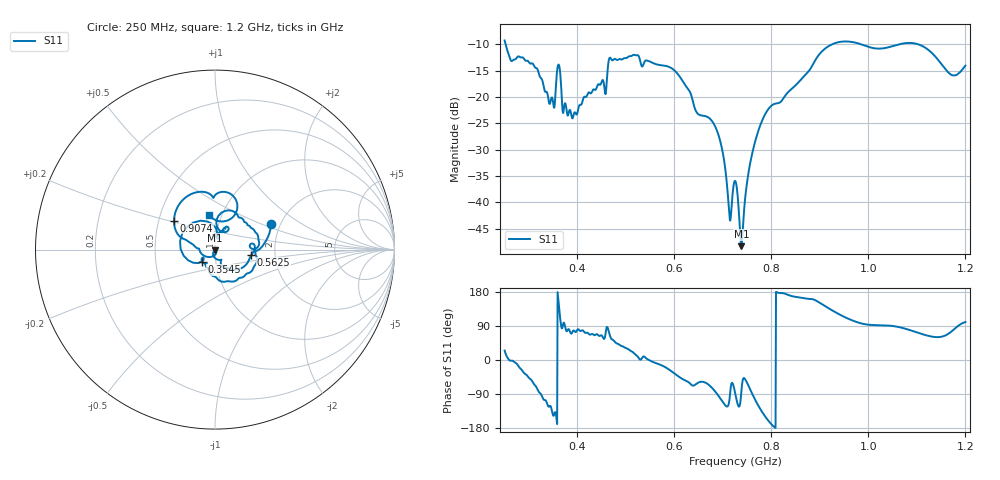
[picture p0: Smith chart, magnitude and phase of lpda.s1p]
! TOUCHSTONE file generated by CST MICROWAVE STUDIO
! Date and time: Fri Oct 16 17:00:01 2026
! Project name: lpda.cst
! Parameters = {z22=1424.37; z21=1406.82; h22=22.8747; h21=26.2497; L22=60.7494; L21=67.4994; feedz=1392.32; boomL=1407.32; z20=1387.32; z19=1365.66; z18=1341.58; z17=1314.83; z16=1285.11; z15=1252.09; z14=1215.4; z13=1174.63; z12=1129.33; z11=1079; z10=1023.07; z9=960.932; z8=891.889; z7=815.174; z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
! Header version: 2024
! Port assignment regex: !\s*Touchstone port\s*([0-9]+)\s*=\s*(CST MWS port|CST DES external port|CST DES block port)\s*(.+)\s* \(\"(.*)\"\)(\s*mode\s*([0-9]+))?.*
! Touchstone port assignment:
! Touchstone port 1 = CST MWS port 1 ("")
# GHz S MA R 50
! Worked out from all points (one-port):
!   1001 points, 250 MHz to 1.2 GHz, reference 50 ohm
!   lowest |S11| = -48.3 dB at 738.3 MHz (marker M1), VSWR 1.01, Z = 50.1 - j0.379 ohm
!   |S11| at or under -10 dB: 252.1 MHz to 925.1 MHz (673.1 MHz wide, 114 % of centre); 984.9 MHz to 1.063 GHz (78.32 MHz wide, 7.65 % of centre); 1.103 GHz to end of sweep
!   S11 on the Smith chart (normalised r, x): 250 MHz: 1.78, +0.59; 354.5 MHz: 0.85, -0.12; 562.5 MHz: 1.50, -0.09; 907.4 MHz: 0.60, +0.21; 1.2 GHz: 0.87, +0.35
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0.25  0.3441 24.9
0.26425  0.2193 -1.7
0.30795  0.2072 -58.5
0.3412  0.09029 -123.5
0.3545  0.1015 -137.6
0.36115  0.2034 153.8
0.36875  0.0827 83.7
0.3944  0.07154 75.7
0.4571  0.1094 61.9
0.4685  0.2339 59.4
0.4875  0.2293 39.3
0.56255  0.2044 -8.5
0.60625  0.1669 -41.4
0.6471  0.07026 -61.4
0.687  0.04887 -87.8
0.7003  0.02876 -111.8
0.71455  0.006702 -93.1
0.725  0.01596 -85.4
0.7383  0.003826 -81.3
0.75445  0.02116 -72.4
0.77535  0.05121 -125.5
0.84375  0.1215 168.1
0.9074  0.2795 144.8
0.9625  0.3346 106.7
1.08125  0.326 80.7
1.12875  0.2674 62.2
1.17245  0.1611 76.5
1.2  0.1982 100.2
